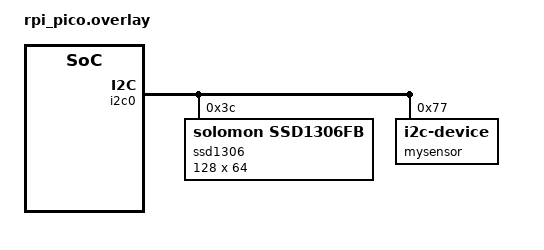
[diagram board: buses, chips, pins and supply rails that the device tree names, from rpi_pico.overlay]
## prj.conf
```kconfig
CONFIG_LOG=y
CONFIG_I2C=y
CONFIG_CBPRINTF_FP_SUPPORT=y
```

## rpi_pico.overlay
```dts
&i2c0 {
      ssd1306: ssd1306@3c {
           compatible = "solomon,ssd1306fb";
	       reg = <0x3c>;
	       height = <64>;
	       width = <128>;
	       segment-offset = <0>;
	       page-offset = <0>;
	       display-offset = <0>;
	       multiplex-ratio = <63>;
	       prechargep = <0x22>;
	       com-invdir;
	       segment-remap;
      };
      mysensor: mysensor@77{
        compatible = "i2c-device";
        status = "okay";
        reg = < 0x77 >;
    };
};
```

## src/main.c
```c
#include <zephyr/logging/log.h>
#include <zephyr/kernel.h>
#include <zephyr/drivers/i2c.h>

/* 1000 msec = 1 sec */
#define SLEEP_TIME_MS   200

LOG_MODULE_REGISTER(foo,LOG_LEVEL_DBG);

#define I2C_NODE DT_NODELABEL(mysensor)

static const struct i2c_dt_spec dev_i2c = I2C_DT_SPEC_GET(I2C_NODE);

#define CTRLMEAS 0xF4
#define CALIB00	 0x88
#define ID	     0xD0
#define TEMPMSB	 0xFA
#define CHIP_ID  0x60

int main(void)
{
	if (!device_is_ready(dev_i2c.bus)) {
		printk("I2C bus %s is not ready!\n\r",dev_i2c.bus->name);
		return -1;
	}

	uint8_t id = 0;
	uint8_t regs[] = {ID};

	int ret = i2c_write_read_dt(&dev_i2c, regs, 1, &id, 1);

	if (ret != 0) {
		printk("Failed to read register %x \n", regs[0]);
		return -1;
	}

	if (id != CHIP_ID) {
		printk("Invalid chip id! %x \n", id);
		return -1;
	}

	while (1) {
		LOG_INF("Hello Log!");
		k_msleep(SLEEP_TIME_MS);
	}
	return 0;
}
```
